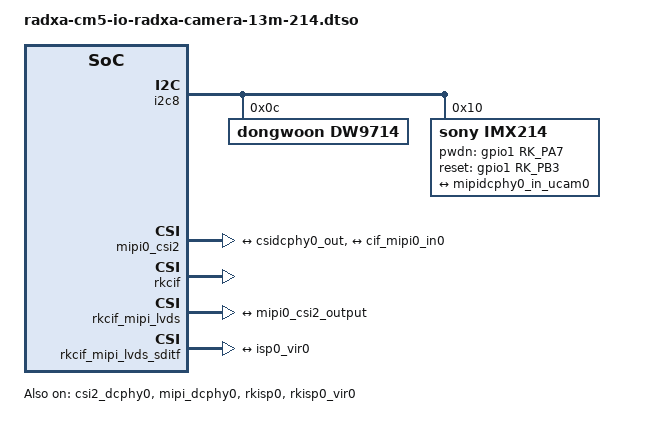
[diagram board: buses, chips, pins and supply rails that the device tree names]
/dts-v1/;
/plugin/;

#include <dt-bindings/clock/rk3588-cru.h>
#include <dt-bindings/power/rk3588-power.h>
#include <dt-bindings/gpio/gpio.h>
#include <dt-bindings/pinctrl/rockchip.h>

/ {
	metadata {
		title ="Enable Radxa Camera 13M 214 on CSI1";
		compatible = "radxa,cm5-io";
		category = "camera";
		exclusive = "csi2_dcphy0";
		description = "Enable Radxa Camera 13M 214 on CSI1.";
	};
};

&i2c8 {
	status = "okay";
	pinctrl-0 = <&i2c8m2_xfer>;
	#address-cells = <1>;
	#size-cells = <0>;

	dw9714: dw9714@c {
		compatible = "dongwoon,dw9714";
		status = "okay";
		reg = <0x0c>;
		rockchip,vcm-start-current = <10>;
		rockchip,vcm-rated-current = <85>;
		rockchip,vcm-step-mode = <3>;
		rockchip,camera-module-index = <0>;
		rockchip,camera-module-facing = "back";
	};

	imx214: imx214@10 {
		status = "okay";
		compatible = "sony,imx214";
		reg = <0x10>;
		clocks = <&cru CLK_MIPI_CAMARAOUT_M1>;
		clock-names = "xvclk";
		pinctrl-names = "default";
		pinctrl-0 = <&mipim0_camera1_clk>;
		power-domains = <&power RK3588_PD_VI>;
		pwdn-gpios = <&gpio1 RK_PA7 GPIO_ACTIVE_HIGH>;
		reset-gpios = <&gpio1 RK_PB3 GPIO_ACTIVE_HIGH>;
		rockchip,camera-module-index = <0>;
		rockchip,camera-module-facing = "back";
		rockchip,camera-module-name = "RADXA-CAMERA-13M";
		rockchip,camera-module-lens-name = "DEFAULT";
		lens-focus = <&dw9714>;
		port {
			imx214_out0: endpoint {
				remote-endpoint = <&mipidcphy0_in_ucam0>;
				data-lanes = <1 2 3 4>;
			};
		};
	};
};

&csi2_dcphy0 {
	status = "okay";

	ports {
		#address-cells = <1>;
		#size-cells = <0>;

		port@0 {
			reg = <0>;
			#address-cells = <1>;
			#size-cells = <0>;

			mipidcphy0_in_ucam0: endpoint@1 {
				reg = <1>;
				remote-endpoint = <&imx214_out0>;
				data-lanes = <1 2 3 4>;
			};
		};

		port@1 {
			reg = <1>;
			#address-cells = <1>;
			#size-cells = <0>;

			csidcphy0_out: endpoint@0 {
				reg = <0>;
				remote-endpoint = <&mipi0_csi2_input>;
			};
		};
	};
};

&mipi_dcphy0 {
	status = "okay";
};

&mipi0_csi2 {
	status = "okay";

	ports {
		#address-cells = <1>;
		#size-cells = <0>;

		port@0 {
			reg = <0>;
			#address-cells = <1>;
			#size-cells = <0>;

			mipi0_csi2_input: endpoint@1 {
				reg = <1>;
				remote-endpoint = <&csidcphy0_out>;
			};
		};

		port@1 {
			reg = <1>;
			#address-cells = <1>;
			#size-cells = <0>;

			mipi0_csi2_output: endpoint@0 {
				reg = <0>;
				remote-endpoint = <&cif_mipi0_in0>;
			};
		};
	};
};

&rkcif {
	status = "okay";
};

&rkcif_mipi_lvds {
	status = "okay";

	port {
		cif_mipi0_in0: endpoint {
			remote-endpoint = <&mipi0_csi2_output>;
		};
	};
};

&rkcif_mipi_lvds_sditf {
	status = "okay";

	port {
		mipi_lvds_sditf: endpoint {
			remote-endpoint = <&isp0_vir0>;
		};
	};
};

&rkcif_mmu {
	status = "okay";
};

&isp0_mmu {
	status = "okay";
};

&rkisp0 {
	status = "okay";
};

&rkisp0_vir0 {
	status = "okay";

	port {
		#address-cells = <1>;
		#size-cells = <0>;

		isp0_vir0: endpoint@0 {
			reg = <0>;
			remote-endpoint = <&mipi_lvds_sditf>;
		};
	};
};
